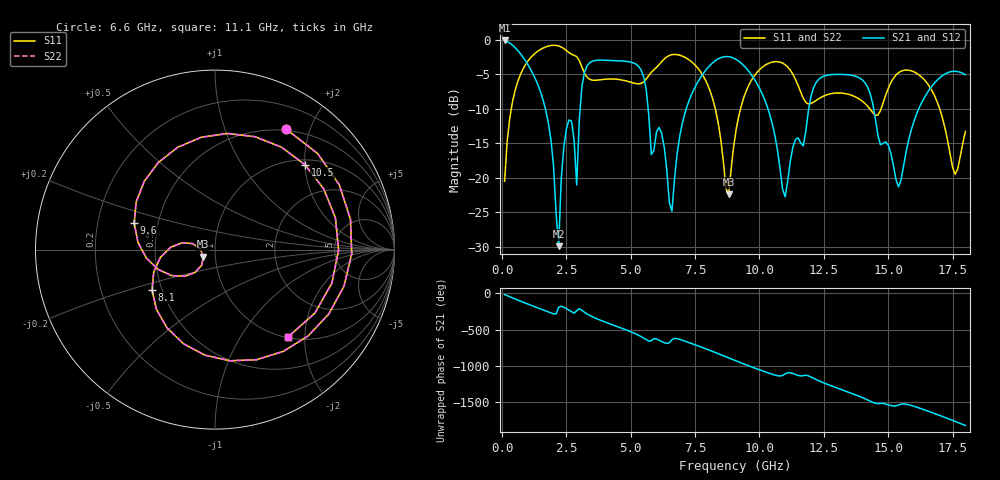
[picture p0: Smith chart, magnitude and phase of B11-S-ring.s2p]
! yapnr rf coupon B: B11 RING S (ring, family S)
! stackup JLC06161H-2116C, nominal parameters; reference planes 10 mm from each end; 50 ohm (renormalized from the line's Zc)
! model: 2D quasi-static RLGC (Djordjevic-Sarkar, Huray roughness, Wheeler loss); generated by python -m yapnr.rf.coupons expected
# GHz S DB R 50
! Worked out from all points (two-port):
!   180 points, 100 MHz to 18 GHz, reference 50 ohm
!   highest |S21| = -0.10 dB at 100 MHz (marker M1); lowest = -29.9 dB at 2.2 GHz (marker M2)
!   |S21| within 3 dB of the highest: start of sweep to 919.4 MHz; 3.514 GHz to 4.724 GHz (1.21 GHz wide, 29.4 % of centre)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
!   lowest |S11| = -22.4 dB at 8.8 GHz (marker M3), VSWR 1.16, Z = 43.8 - j3.49 ohm
!   |S11| at or under -10 dB: 8.282 GHz to 9.266 GHz (983.6 MHz wide, 11.2 % of centre); 14.28 GHz to 14.73 GHz (441.6 MHz wide, 3.04 % of centre); 17 GHz to end of sweep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
!   |S22| runs from -22.4 to -0.8 dB; largest |S21 - S12| = 0
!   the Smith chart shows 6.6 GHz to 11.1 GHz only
!   S11 on the Smith chart (normalised r, x): 6.6 GHz: 0.48, +1.65; 8.1 GHz: 0.44, -0.24; 9.6 GHz: 0.36, +0.14; 10.5 GHz: 1.11, +2.00; 11.1 GHz: 1.02, -1.66
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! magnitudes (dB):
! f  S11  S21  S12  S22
! 100 MHz  -20.5  -0.1  -0.1  -20.5
! 500 MHz  -7.5  -1.1  -1.1  -7.5
! 1.6 GHz  -1.2  -8.8  -8.8  -1.2
! 2.2 GHz  -0.9  -29.9  -29.9  -0.9
! 2.5 GHz  -1.6  -12.9  -12.9  -1.6
! 2.9 GHz  -2.4  -21.0  -21.0  -2.4
! 3.1 GHz  -3.9  -6.8  -6.8  -3.9
! 5.2 GHz  -6.4  -3.5  -3.5  -6.4
! 6.1 GHz  -3.6  -12.7  -12.7  -3.6
! 6.6 GHz  -2.2  -24.8  -24.8  -2.2
! 8.1 GHz  -7.6  -3.6  -3.6  -7.6
! 8.8 GHz  -22.4  -2.5  -2.5  -22.4
! 9.1 GHz  -12.9  -2.9  -2.9  -12.9
! 9.6 GHz  -6.5  -4.6  -4.6  -6.5
! 10.5 GHz  -3.2  -12.2  -12.2  -3.2
! 11.1 GHz  -4.0  -20.4  -20.4  -4.0
! 12.1 GHz  -9.0  -7.0  -7.0  -9.0
! 14 GHz  -8.9  -5.8  -5.8  -8.9
! 15.1 GHz  -6.3  -16.4  -16.4  -6.3
! 16.6 GHz  -6.8  -7.2  -7.2  -6.8
! 17.6 GHz  -19.5  -4.6  -4.6  -19.5
! 18 GHz  -13.3  -5.1  -5.1  -13.3
